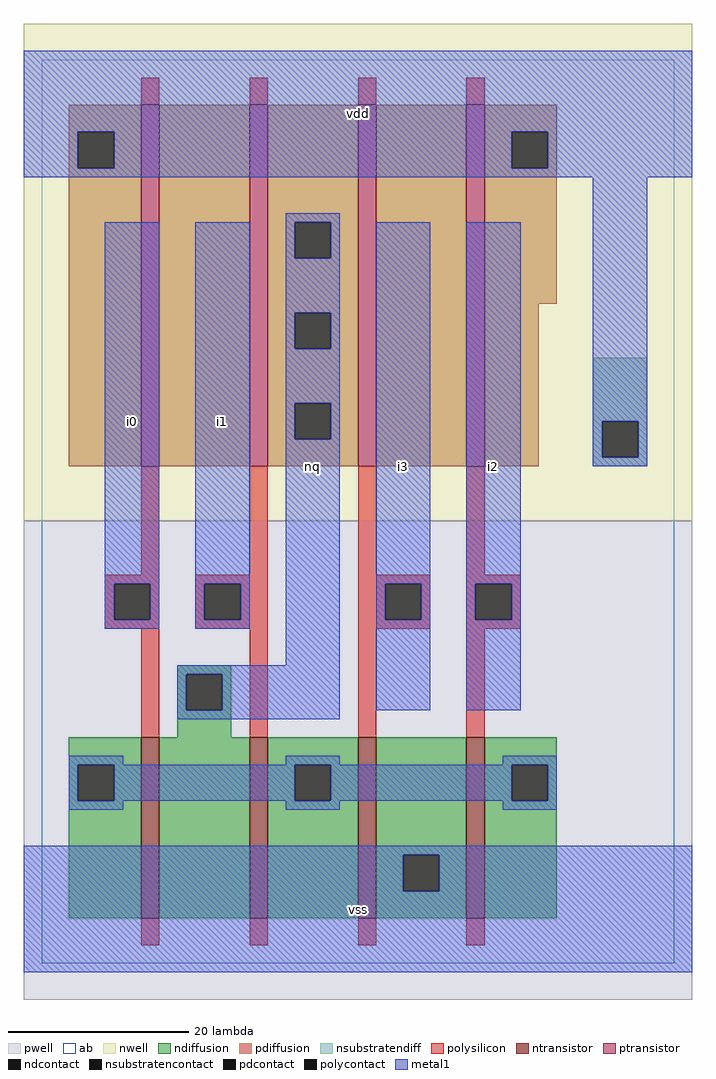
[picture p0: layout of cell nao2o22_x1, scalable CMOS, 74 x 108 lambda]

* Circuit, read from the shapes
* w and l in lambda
.subckt nao2o22_x1 i0 i1 i2 i3 nq vdd vss
M1 nq i0 n1 VSUBS nfet w=20 l=2
M2 n1 i1 nq VSUBS nfet w=20 l=2
M3 vss i3 n1 VSUBS nfet w=20 l=2
M4 n1 i2 vss VSUBS nfet w=20 l=2
M5 n2 i0 vdd vdd pfet w=40 l=2
M6 nq i1 n2 vdd pfet w=40 l=2
M7 n3 i3 nq vdd pfet w=40 l=2
M8 vdd i2 n3 vdd pfet w=40 l=2
.ends

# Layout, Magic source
magic
tech scmos
<< ab >>
rect 0 0 70 100
<< pwell >>
rect -2 -4 72 49
<< nwell >>
rect -2 49 72 104
<< polysilicon >>
rect 11 95 13 98
rect 23 95 25 98
rect 35 95 37 98
rect 47 95 49 98
rect 11 43 13 55
rect 23 43 25 55
rect 7 42 13 43
rect 7 38 8 42
rect 12 38 13 42
rect 7 37 13 38
rect 17 42 25 43
rect 17 38 18 42
rect 22 38 25 42
rect 17 37 25 38
rect 11 25 13 37
rect 23 25 25 37
rect 35 43 37 55
rect 47 43 49 55
rect 35 42 43 43
rect 35 38 38 42
rect 42 38 43 42
rect 35 37 43 38
rect 47 42 53 43
rect 47 38 48 42
rect 52 38 53 42
rect 47 37 53 38
rect 35 25 37 37
rect 47 25 49 37
rect 11 2 13 5
rect 23 2 25 5
rect 35 2 37 5
rect 47 2 49 5
<< ndiffusion >>
rect 15 32 21 33
rect 15 28 16 32
rect 20 28 21 32
rect 15 25 21 28
rect 3 22 11 25
rect 3 18 4 22
rect 8 18 11 22
rect 3 5 11 18
rect 13 5 23 25
rect 25 22 35 25
rect 25 18 28 22
rect 32 18 35 22
rect 25 5 35 18
rect 37 12 47 25
rect 37 8 40 12
rect 44 8 47 12
rect 37 5 47 8
rect 49 22 57 25
rect 49 18 52 22
rect 56 18 57 22
rect 49 5 57 18
<< pdiffusion >>
rect 3 92 11 95
rect 3 88 4 92
rect 8 88 11 92
rect 3 55 11 88
rect 13 55 23 95
rect 25 82 35 95
rect 25 78 28 82
rect 32 78 35 82
rect 25 72 35 78
rect 25 68 28 72
rect 32 68 35 72
rect 25 62 35 68
rect 25 58 28 62
rect 32 58 35 62
rect 25 55 35 58
rect 37 55 47 95
rect 49 92 57 95
rect 49 88 52 92
rect 56 88 57 92
rect 49 73 57 88
rect 49 55 55 73
<< metal1 >>
rect -2 92 72 101
rect -2 88 4 92
rect 8 88 52 92
rect 56 88 72 92
rect -2 87 72 88
rect 27 82 33 83
rect 7 42 13 82
rect 7 38 8 42
rect 12 38 13 42
rect 7 37 13 38
rect 17 42 23 82
rect 17 38 18 42
rect 22 38 23 42
rect 17 37 23 38
rect 27 78 28 82
rect 32 78 33 82
rect 27 72 33 78
rect 27 68 28 72
rect 32 68 33 72
rect 27 62 33 68
rect 27 58 28 62
rect 32 58 33 62
rect 27 33 33 58
rect 15 32 33 33
rect 15 28 16 32
rect 20 28 33 32
rect 37 42 43 82
rect 37 38 38 42
rect 42 38 43 42
rect 37 28 43 38
rect 47 42 53 82
rect 61 60 67 87
rect 61 56 62 60
rect 66 56 67 60
rect 61 55 67 56
rect 47 38 48 42
rect 52 38 53 42
rect 47 28 53 38
rect 15 27 33 28
rect 3 22 9 23
rect 27 22 33 23
rect 51 22 57 23
rect 3 18 4 22
rect 8 18 28 22
rect 32 18 52 22
rect 56 18 57 22
rect 3 17 9 18
rect 27 17 33 18
rect 51 17 57 18
rect -2 12 72 13
rect -2 8 40 12
rect 44 8 72 12
rect -2 -1 72 8
<< ntransistor >>
rect 11 5 13 25
rect 23 5 25 25
rect 35 5 37 25
rect 47 5 49 25
<< ptransistor >>
rect 11 55 13 95
rect 23 55 25 95
rect 35 55 37 95
rect 47 55 49 95
<< polycontact >>
rect 8 38 12 42
rect 18 38 22 42
rect 38 38 42 42
rect 48 38 52 42
<< ndcontact >>
rect 16 28 20 32
rect 4 18 8 22
rect 28 18 32 22
rect 40 8 44 12
rect 52 18 56 22
<< pdcontact >>
rect 4 88 8 92
rect 28 78 32 82
rect 28 68 32 72
rect 28 58 32 62
rect 52 88 56 92
<< nsubstratencontact >>
rect 62 56 66 60
<< nsubstratendiff >>
rect 61 60 67 67
rect 61 56 62 60
rect 66 56 67 60
rect 61 55 67 56
<< labels >>
rlabel metal1 10 60 10 60 6 i0
rlabel metal1 10 60 10 60 6 i0
rlabel metal1 30 55 30 55 6 nq
rlabel metal1 20 60 20 60 6 i1
rlabel metal1 30 55 30 55 6 nq
rlabel metal1 20 60 20 60 6 i1
rlabel metal1 35 6 35 6 6 vss
rlabel metal1 35 6 35 6 6 vss
rlabel metal1 50 55 50 55 6 i2
rlabel metal1 40 55 40 55 6 i3
rlabel metal1 50 55 50 55 6 i2
rlabel metal1 40 55 40 55 6 i3
rlabel metal1 35 94 35 94 6 vdd
rlabel metal1 35 94 35 94 6 vdd
<< end >>
